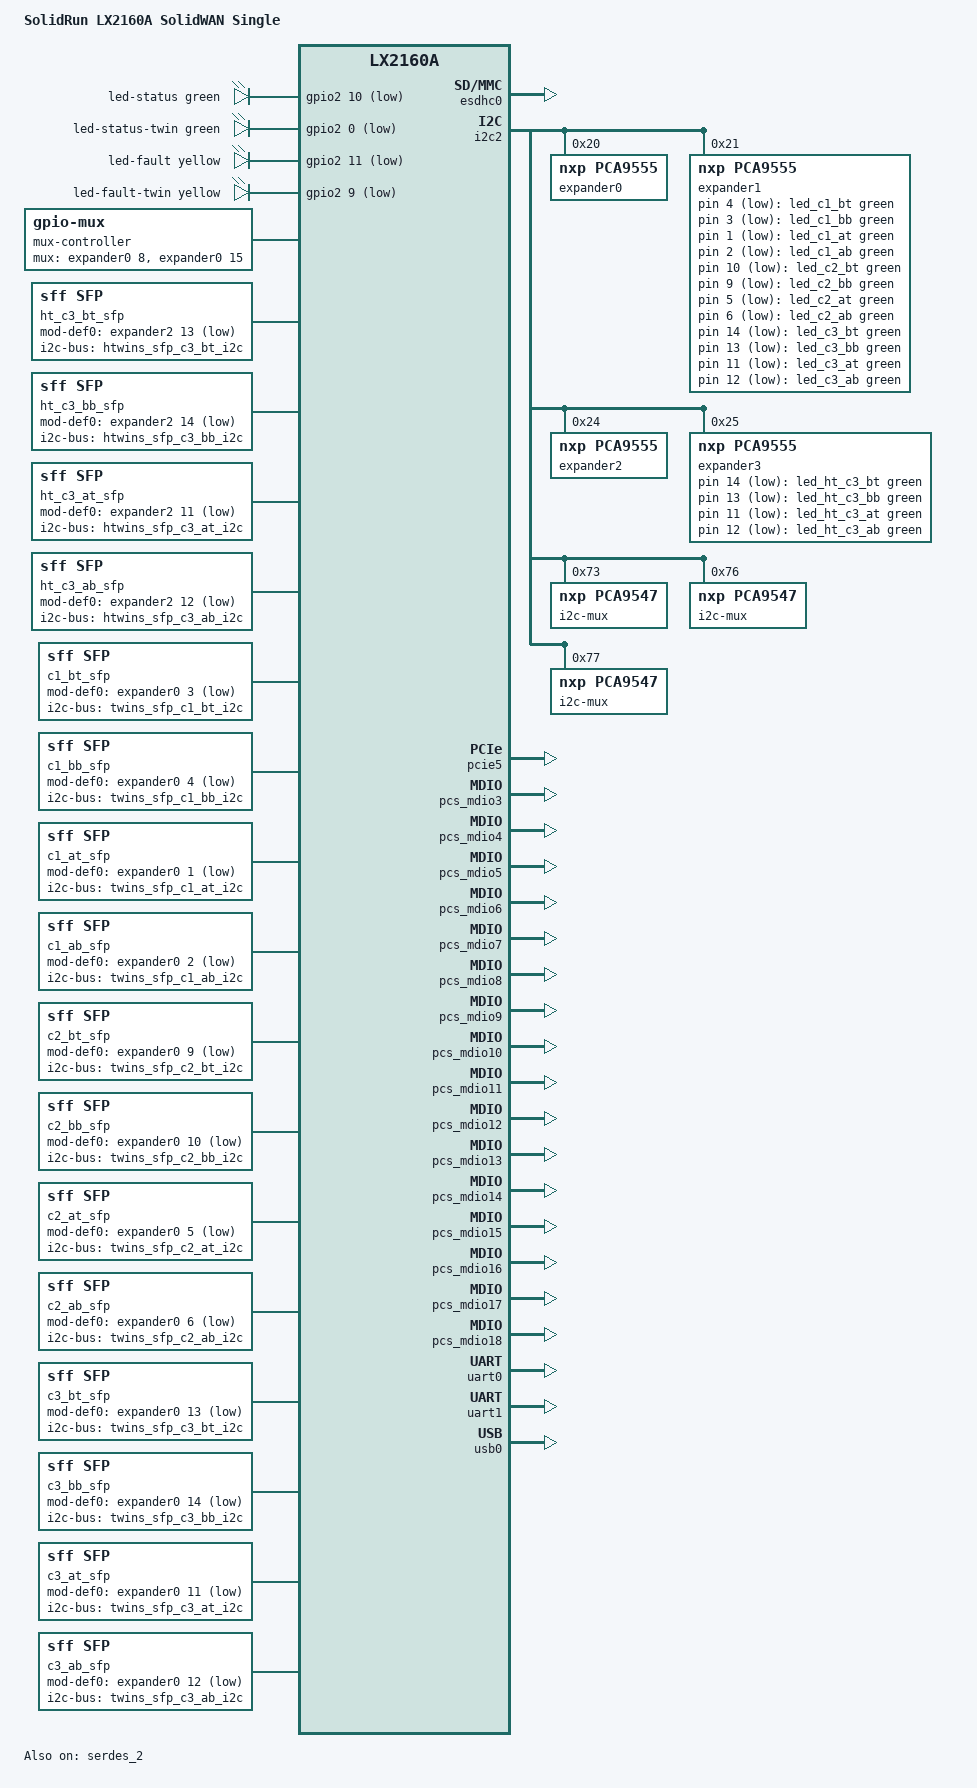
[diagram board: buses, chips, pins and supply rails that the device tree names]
// SPDX-License-Identifier: (GPL-2.0 OR MIT)
//
// Device Tree file for single LX2160A CEX-7 on Twins board.
//
// Copyright 2022 SolidRun Ltd.

/dts-v1/;

#include <dt-bindings/leds/common.h>

#include "fsl-lx2160a-rev2.dtsi"
#include "fsl-lx2160a-cex7.dtsi"

/ {
	compatible = "solidrun,twins-single", "solidrun,lx2160a-cex7", "fsl,lx2160a";
	model = "SolidRun LX2160A SolidWAN Single";

	aliases {
		gpio0 = &gpio0;
		gpio1 = &gpio1;
		gpio2 = &gpio2;
		gpio3 = &gpio3;
		gpio4 = &expander0;
		gpio5 = &expander1;
		gpio6 = &expander2;
		gpio7 = &expander3;
		i2c0 = &i2c0;
		i2c1 = &i2c2;
		i2c2 = &i2c4;
		i2c3 = &fan_i2c;
		i2c4 = &power_i2c;
		i2c5 = &i2c_smb;
		i2c6 = &sfp0_i2c;
		i2c7 = &sfp1_i2c;
		i2c8 = &sfp2_i2c;
		i2c9 = &sfp3_i2c;
		i2c10 = &twins_sfp_c1_at_i2c;
		i2c11 = &twins_sfp_c1_ab_i2c;
		i2c12 = &twins_sfp_c1_bt_i2c;
		i2c13 = &twins_sfp_c1_bb_i2c;
		i2c14 = &twins_sfp_c2_at_i2c;
		i2c15 = &twins_sfp_c2_ab_i2c;
		i2c16 = &twins_sfp_c2_bt_i2c;
		i2c17 = &twins_sfp_c2_bb_i2c;
		i2c18 = &twins_sfp_c3_at_i2c;
		i2c19 = &twins_sfp_c3_ab_i2c;
		i2c20 = &twins_sfp_c3_bt_i2c;
		i2c21 = &twins_sfp_c3_bb_i2c;
		i2c22 = &htwins_sfp_c3_at_i2c;
		i2c23 = &htwins_sfp_c3_ab_i2c;
		i2c24 = &htwins_sfp_c3_bt_i2c;
		i2c25 = &htwins_sfp_c3_bb_i2c;
		i2c26 = &ddr_i2c;
		mmc0 = &esdhc0;
		mmc1 = &esdhc1;
		serial0 = &uart0;
		serial1 = &uart1;
	};

	chosen {
		stdout-path = "serial0:115200n8";
	};

	leds {
		compatible = "gpio-leds";

		led_ht_c3_bt: led-sfp-1 {
			color = <LED_COLOR_ID_GREEN>;
			default-state = "off";
			function = LED_FUNCTION_LAN;
			function-enumerator = <1>;
			gpios = <&expander3 14 GPIO_ACTIVE_LOW>;
			trigger-sources = <&dpmac5>;
			linux,default-trigger = "netdev";
		};

		led_ht_c3_bb: led-sfp-2 {
			color = <LED_COLOR_ID_GREEN>;
			default-state = "off";
			function = LED_FUNCTION_LAN;
			function-enumerator = <2>;
			gpios = <&expander3 13 GPIO_ACTIVE_LOW>;
			trigger-sources = <&dpmac15>;
			linux,default-trigger = "netdev";
		};

		led_ht_c3_at: led-sfp-3 {
			color = <LED_COLOR_ID_GREEN>;
			default-state = "off";
			function = LED_FUNCTION_LAN;
			function-enumerator = <3>;
			gpios = <&expander3 11 GPIO_ACTIVE_LOW>;
			trigger-sources = <&dpmac6>;
			linux,default-trigger = "netdev";
		};

		led_ht_c3_ab: led-sfp-4 {
			color = <LED_COLOR_ID_GREEN>;
			default-state = "off";
			function = LED_FUNCTION_LAN;
			function-enumerator = <4>;
			gpios = <&expander3 12 GPIO_ACTIVE_LOW>;
			trigger-sources = <&dpmac11>;
			linux,default-trigger = "netdev";
		};

		led_c1_bt: led-sfp-9 {
			color = <LED_COLOR_ID_GREEN>;
			default-state = "off";
			function = LED_FUNCTION_LAN;
			function-enumerator = <9>;
			gpios = <&expander1 4 GPIO_ACTIVE_LOW>;
			trigger-sources = <&dpmac4>;
			linux,default-trigger = "netdev";
		};

		led_c1_bb: led-sfp-10 {
			color = <LED_COLOR_ID_GREEN>;
			default-state = "off";
			function = LED_FUNCTION_LAN;
			function-enumerator = <10>;
			gpios = <&expander1 3 GPIO_ACTIVE_LOW>;
			trigger-sources = <&dpmac17>;
			linux,default-trigger = "netdev";
		};

		led_c1_at: led-sfp-11 {
			color = <LED_COLOR_ID_GREEN>;
			default-state = "off";
			function = LED_FUNCTION_LAN;
			function-enumerator = <11>;
			gpios = <&expander1 1 GPIO_ACTIVE_LOW>;
			trigger-sources = <&dpmac3>;
			linux,default-trigger = "netdev";
		};

		led_c1_ab: led-sfp-12 {
			color = <LED_COLOR_ID_GREEN>;
			default-state = "off";
			function = LED_FUNCTION_LAN;
			function-enumerator = <12>;
			gpios = <&expander1 2 GPIO_ACTIVE_LOW>;
			trigger-sources = <&dpmac12>;
			linux,default-trigger = "netdev";
		};

		led_c2_bt: led-sfp-13 {
			color = <LED_COLOR_ID_GREEN>;
			default-state = "off";
			function = LED_FUNCTION_LAN;
			function-enumerator = <13>;
			gpios = <&expander1 10 GPIO_ACTIVE_LOW>;
			trigger-sources = <&dpmac8>;
			linux,default-trigger = "netdev";
		};

		led_c2_bb: led-sfp-14 {
			color = <LED_COLOR_ID_GREEN>;
			default-state = "off";
			function = LED_FUNCTION_LAN;
			function-enumerator = <14>;
			gpios = <&expander1 9 GPIO_ACTIVE_LOW>;
			trigger-sources = <&dpmac16>;
			linux,default-trigger = "netdev";
		};

		led_c2_at: led-sfp-15 {
			color = <LED_COLOR_ID_GREEN>;
			default-state = "off";
			function = LED_FUNCTION_LAN;
			function-enumerator = <15>;
			gpios = <&expander1 5 GPIO_ACTIVE_LOW>;
			trigger-sources = <&dpmac7>;
			linux,default-trigger = "netdev";
		};

		led_c2_ab: led-sfp-16 {
			color = <LED_COLOR_ID_GREEN>;
			default-state = "off";
			function = LED_FUNCTION_LAN;
			function-enumerator = <16>;
			gpios = <&expander1 6 GPIO_ACTIVE_LOW>;
			trigger-sources = <&dpmac18>;
			linux,default-trigger = "netdev";
		};

		led_c3_bt: led-sfp-17 {
			color = <LED_COLOR_ID_GREEN>;
			default-state = "off";
			function = LED_FUNCTION_LAN;
			function-enumerator = <17>;
			gpios = <&expander1 14 GPIO_ACTIVE_LOW>;
			trigger-sources = <&dpmac10>;
			linux,default-trigger = "netdev";
		};

		led_c3_bb: led-sfp-18 {
			color = <LED_COLOR_ID_GREEN>;
			default-state = "off";
			function = LED_FUNCTION_LAN;
			function-enumerator = <18>;
			gpios = <&expander1 13 GPIO_ACTIVE_LOW>;
			trigger-sources = <&dpmac14>;
			linux,default-trigger = "netdev";
		};

		led_c3_at: led-sfp-19 {
			color = <LED_COLOR_ID_GREEN>;
			default-state = "off";
			function = LED_FUNCTION_LAN;
			function-enumerator = <19>;
			gpios = <&expander1 11 GPIO_ACTIVE_LOW>;
			trigger-sources = <&dpmac9>;
			linux,default-trigger = "netdev";
		};

		led_c3_ab: led-sfp-20 {
			color = <LED_COLOR_ID_GREEN>;
			default-state = "off";
			function = LED_FUNCTION_LAN;
			function-enumerator = <20>;
			gpios = <&expander1 12 GPIO_ACTIVE_LOW>;
			trigger-sources = <&dpmac13>;
			linux,default-trigger = "netdev";
		};

		led-status {
			color = <LED_COLOR_ID_GREEN>;
			default-state = "off";
			function = LED_FUNCTION_STATUS;
			function-enumerator = <0>;
			gpios = <&gpio2 10 GPIO_ACTIVE_LOW>;
			linux,default-trigger = "heartbeat";
		};

		led-status-twin {
			color = <LED_COLOR_ID_GREEN>;
			default-state = "off";
			function = LED_FUNCTION_STATUS;
			function-enumerator = <1>;
			gpios = <&gpio2 0 GPIO_ACTIVE_LOW>;
		};

		led-fault {
			color = <LED_COLOR_ID_YELLOW>;
			default-state = "off";
			function = LED_FUNCTION_FAULT;
			function-enumerator = <0>;
			gpios = <&gpio2 11 GPIO_ACTIVE_LOW>;
			panic-indicator;
		};

		led-fault-twin {
			color = <LED_COLOR_ID_YELLOW>;
			default-state = "off";
			function = LED_FUNCTION_FAULT;
			function-enumerator = <1>;
			gpios = <&gpio2 9 GPIO_ACTIVE_LOW>;
		};
	};

	mux-controller {
		compatible = "gpio-mux";
		#mux-control-cells = <0>;
		/*
		 * This gpio controlled mux can route the tacho signals of 6 PWM FAN connectors
		 * to the tacho inputs of both CEX-7 modules (twins).
		 *
		 * The first twin controls this mux and monitors four fan connectors, two intended
		 * for itself, and two for the OCP card.
		 *
		 * The second twin monitors only two fan connectors intended for itself.
		 *
		 * The table below maps selector GPIO states to monitored fan connector per twin:
		 *
		 * | SEL1 | SEL0 | Twin 1 | Twin 2 |
		 * | ---: | ---: | :------| ------ |
		 * |    0 |    0 | J10    |  J5024 |
		 * |    0 |    1 | J5016  |  J5024 |
		 * |    1 |    0 | J5026  |  J5025 |
		 * |    1 |    1 | J5013  |  J5025 |
		 */
		mux-gpios = <&expander0 8 GPIO_ACTIVE_HIGH>, /* SEL0 */
			    <&expander0 15 GPIO_ACTIVE_HIGH>; /* SEL1 */
	};

	ht_c3_bt_sfp: sfp-1 {
		compatible = "sff,sfp";
		i2c-bus = <&htwins_sfp_c3_bt_i2c>;
		maximum-power-milliwatt = <2000>;
		mod-def0-gpios = <&expander2 13 GPIO_ACTIVE_LOW>;
	};

	ht_c3_bb_sfp: sfp-2 {
		compatible = "sff,sfp";
		i2c-bus = <&htwins_sfp_c3_bb_i2c>;
		maximum-power-milliwatt = <2000>;
		mod-def0-gpios = <&expander2 14 GPIO_ACTIVE_LOW>;
	};

	ht_c3_at_sfp: sfp-3 {
		compatible = "sff,sfp";
		i2c-bus = <&htwins_sfp_c3_at_i2c>;
		maximum-power-milliwatt = <2000>;
		mod-def0-gpios = <&expander2 11 GPIO_ACTIVE_LOW>;
	};

	ht_c3_ab_sfp: sfp-4 {
		compatible = "sff,sfp";
		i2c-bus = <&htwins_sfp_c3_ab_i2c>;
		maximum-power-milliwatt = <2000>;
		mod-def0-gpios = <&expander2 12 GPIO_ACTIVE_LOW>;
	};

	c1_bt_sfp: sfp-9 {
		compatible = "sff,sfp";
		i2c-bus = <&twins_sfp_c1_bt_i2c>;
		maximum-power-milliwatt = <2000>;
		mod-def0-gpios = <&expander0 3 GPIO_ACTIVE_LOW>;
	};

	c1_bb_sfp: sfp-10 {
		compatible = "sff,sfp";
		i2c-bus = <&twins_sfp_c1_bb_i2c>;
		maximum-power-milliwatt = <2000>;
		mod-def0-gpios = <&expander0 4 GPIO_ACTIVE_LOW>;
	};

	c1_at_sfp: sfp-11 {
		compatible = "sff,sfp";
		i2c-bus = <&twins_sfp_c1_at_i2c>;
		maximum-power-milliwatt = <2000>;
		mod-def0-gpios = <&expander0 1 GPIO_ACTIVE_LOW>;
	};

	c1_ab_sfp: sfp-12 {
		compatible = "sff,sfp";
		i2c-bus = <&twins_sfp_c1_ab_i2c>;
		maximum-power-milliwatt = <2000>;
		mod-def0-gpios = <&expander0 2 GPIO_ACTIVE_LOW>;
	};

	c2_bt_sfp: sfp-13 {
		compatible = "sff,sfp";
		i2c-bus = <&twins_sfp_c2_bt_i2c>;
		maximum-power-milliwatt = <2000>;
		mod-def0-gpios = <&expander0 9 GPIO_ACTIVE_LOW>;
	};

	c2_bb_sfp: sfp-14 {
		compatible = "sff,sfp";
		i2c-bus = <&twins_sfp_c2_bb_i2c>;
		maximum-power-milliwatt = <2000>;
		mod-def0-gpios = <&expander0 10 GPIO_ACTIVE_LOW>;
	};

	c2_at_sfp: sfp-15 {
		compatible = "sff,sfp";
		i2c-bus = <&twins_sfp_c2_at_i2c>;
		maximum-power-milliwatt = <2000>;
		mod-def0-gpios = <&expander0 5 GPIO_ACTIVE_LOW>;
	};

	c2_ab_sfp: sfp-16 {
		compatible = "sff,sfp";
		i2c-bus = <&twins_sfp_c2_ab_i2c>;
		maximum-power-milliwatt = <2000>;
		mod-def0-gpios = <&expander0 6 GPIO_ACTIVE_LOW>;
	};

	c3_bt_sfp: sfp-17 {
		compatible = "sff,sfp";
		i2c-bus = <&twins_sfp_c3_bt_i2c>;
		maximum-power-milliwatt = <2000>;
		mod-def0-gpios = <&expander0 13 GPIO_ACTIVE_LOW>;
	};

	c3_bb_sfp: sfp-18 {
		compatible = "sff,sfp";
		i2c-bus = <&twins_sfp_c3_bb_i2c>;
		maximum-power-milliwatt = <2000>;
		mod-def0-gpios = <&expander0 14 GPIO_ACTIVE_LOW>;
	};

	c3_at_sfp: sfp-19 {
		compatible = "sff,sfp";
		i2c-bus = <&twins_sfp_c3_at_i2c>;
		maximum-power-milliwatt = <2000>;
		mod-def0-gpios = <&expander0 11 GPIO_ACTIVE_LOW>;
	};

	c3_ab_sfp: sfp-20 {
		compatible = "sff,sfp";
		i2c-bus = <&twins_sfp_c3_ab_i2c>;
		maximum-power-milliwatt = <2000>;
		mod-def0-gpios = <&expander0 12 GPIO_ACTIVE_LOW>;
	};
};

/*
 * This board supports industrial grade temperatures,
 * the LX2160A SoC maximum junction temperature is 105°C.
 *
 * Raise thermal thresholds to allow operation near maximum temperature.
 */
&ccn_dpaa_alert {
	temperature = <100000>;
};

&ccn_dpaa_crit {
	temperature = <105000>;
};

&cluster2_3_alert {
	temperature = <100000>;
};

&cluster2_3_crit {
	temperature = <105000>;
};

&cluster4_alert {
	temperature = <100000>;
};

&cluster4_crit {
	temperature = <105000>;
};

&cluster5_alert {
	temperature = <100000>;
};

&cluster5_crit {
	temperature = <105000>;
};

&cluster6_7_alert {
	temperature = <100000>;
};

&cluster6_7_crit {
	temperature = <105000>;
};

&dce_qbman_alert {
	temperature = <100000>;
};

&dce_qbman_crit {
	temperature = <105000>;
};

/* sfp port 11 */
&dpmac3 {
	managed = "in-band-status";
	phys = <&serdes_1 7>;
	sfp = <&c1_at_sfp>;
};

/* sfp port 9 */
&dpmac4 {
	managed = "in-band-status";
	phys = <&serdes_1 6>;
	sfp = <&c1_bt_sfp>;
};

/* sfp port 1 */
&dpmac5 {
	managed = "in-band-status";
	phys = <&serdes_1 5>;
	sfp = <&ht_c3_bt_sfp>;
};

/* sfp port 3 */
&dpmac6 {
	managed = "in-band-status";
	phys = <&serdes_1 4>;
	sfp = <&ht_c3_at_sfp>;
};

/* sfp port 15 */
&dpmac7 {
	managed = "in-band-status";
	phys = <&serdes_1 3>;
	sfp = <&c2_at_sfp>;
};

/* sfp port 13 */
&dpmac8 {
	managed = "in-band-status";
	phys = <&serdes_1 2>;
	sfp = <&c2_bt_sfp>;
};

/* sfp port 19 */
&dpmac9 {
	managed = "in-band-status";
	phys = <&serdes_1 1>;
	sfp = <&c3_at_sfp>;
};

/* sfp port 17 */
&dpmac10 {
	managed = "in-band-status";
	phys = <&serdes_1 0>;
	sfp = <&c3_bt_sfp>;
};

/* sfp port 4 */
&dpmac11 {
	managed = "in-band-status";
	phys = <&serdes_2 0>;
	sfp = <&ht_c3_ab_sfp>;
};

/* sfp port 12 */
&dpmac12 {
	managed = "in-band-status";
	phys = <&serdes_2 1>;
	sfp = <&c1_ab_sfp>;
};

/* sfp port 20 */
&dpmac13 {
	managed = "in-band-status";
	phys = <&serdes_2 6>;
	sfp = <&c3_ab_sfp>;
};

/* sfp port 18 */
&dpmac14 {
	managed = "in-band-status";
	phys = <&serdes_2 7>;
	sfp = <&c3_bb_sfp>;
};

/* sfp port 2 */
&dpmac15 {
	managed = "in-band-status";
	phys = <&serdes_2 4>;
	sfp = <&ht_c3_bb_sfp>;
};

/* sfp port 14 */
&dpmac16 {
	managed = "in-band-status";
	phys = <&serdes_2 5>;
	sfp = <&c2_bb_sfp>;
};

/* sfp port 10 */
&dpmac17 {
	/* override connection to on-COM phy */
	/delete-property/ phy-handle;
	/delete-property/ phy-connection-type;
	managed = "in-band-status";
	phys = <&serdes_2 2>;
	sfp = <&c1_bb_sfp>;
};

/* sfp port 16 */
&dpmac18 {
	managed = "in-band-status";
	phys = <&serdes_2 3>;
	sfp = <&c2_ab_sfp>;
};

&esdhc0 {
	pinctrl-0 = <&esdhc0_cd_wp_pins>, <&esdhc0_cmd_data30_clk_vsel_pins>;
	pinctrl-names = "default";
	/*
	 * Disable 1.8V modes so that microsd state is same between
	 * power-on-reset, u-boot and linux.
	 * This avoids sporadic read errors after hard reset with some cards.
	 */
	no-1-8-v;
	status = "okay";
};

&i2c2 {
	expander0: gpio@20 {
		compatible = "nxp,pca9555";
		reg = <0x20>;
		#gpio-cells = <2>;
		gpio-controller;
	};

	expander1: gpio@21 {
		compatible = "nxp,pca9555";
		reg = <0x21>;
		#gpio-cells = <2>;
		gpio-controller;
	};

	expander2: gpio@24 {
		compatible = "nxp,pca9555";
		reg = <0x24>;
		#gpio-cells = <2>;
		gpio-controller;
	};

	expander3: gpio@25 {
		compatible = "nxp,pca9555";
		reg = <0x25>;
		#gpio-cells = <2>;
		gpio-controller;
	};

	/* Half twins configuration; take over c3 from the other twin side */
	i2c-mux@73 {
		compatible = "nxp,pca9547";
		reg = <0x73>;
		#address-cells = <1>;
		#size-cells = <0>;
		i2c-mux-idle-disconnect;

		htwins_sfp_c3_at_i2c: i2c@3 {
			reg = <3>;
			#address-cells = <1>;
			#size-cells = <0>;
		};

		htwins_sfp_c3_ab_i2c: i2c@4 {
			reg = <4>;
			#address-cells = <1>;
			#size-cells = <0>;
		};

		htwins_sfp_c3_bt_i2c: i2c@5 {
			reg = <5>;
			#address-cells = <1>;
			#size-cells = <0>;
		};

		htwins_sfp_c3_bb_i2c: i2c@6 {
			reg = <6>;
			#address-cells = <1>;
			#size-cells = <0>;
		};
	};

	i2c-mux@76 {
		compatible = "nxp,pca9547";
		reg = <0x76>;
		#address-cells = <1>;
		#size-cells = <0>;
		i2c-mux-idle-disconnect;

		twins_sfp_c1_at_i2c: i2c@1 {
			reg = <1>;
			#address-cells = <1>;
			#size-cells = <0>;
		};

		twins_sfp_c1_ab_i2c: i2c@2 {
			reg = <2>;
			#address-cells = <1>;
			#size-cells = <0>;
		};

		twins_sfp_c1_bt_i2c: i2c@3 {
			reg = <3>;
			#address-cells = <1>;
			#size-cells = <0>;
		};

		twins_sfp_c1_bb_i2c: i2c@4 {
			reg = <4>;
			#address-cells = <1>;
			#size-cells = <0>;
		};

		twins_sfp_c2_at_i2c: i2c@5 {
			reg = <5>;
			#address-cells = <1>;
			#size-cells = <0>;
		};

		twins_sfp_c2_ab_i2c: i2c@6 {
			reg = <6>;
			#address-cells = <1>;
			#size-cells = <0>;
		};
	};

	i2c-mux@77 {
		compatible = "nxp,pca9547";
		reg = <0x77>;
		#address-cells = <1>;
		#size-cells = <0>;
		i2c-mux-idle-disconnect;

		twins_sfp_c2_bt_i2c: i2c@1 {
			reg = <1>;
			#address-cells = <1>;
			#size-cells = <0>;
		};

		twins_sfp_c2_bb_i2c: i2c@2 {
			reg = <2>;
			#address-cells = <1>;
			#size-cells = <0>;
		};

		twins_sfp_c3_at_i2c: i2c@3 {
			reg = <3>;
			#address-cells = <1>;
			#size-cells = <0>;
		};

		twins_sfp_c3_ab_i2c: i2c@4 {
			reg = <4>;
			#address-cells = <1>;
			#size-cells = <0>;
		};

		twins_sfp_c3_bt_i2c: i2c@5 {
			reg = <5>;
			#address-cells = <1>;
			#size-cells = <0>;
		};

		twins_sfp_c3_bb_i2c: i2c@6 {
			reg = <6>;
			#address-cells = <1>;
			#size-cells = <0>;
		};
	};
};

&pcie5 {
	status = "okay";
};

&pcs_mdio3 {
	status = "okay";
};

&pcs_mdio4 {
	status = "okay";
};

&pcs_mdio5 {
	status = "okay";
};

&pcs_mdio6 {
	status = "okay";
};

&pcs_mdio7 {
	status = "okay";
};

&pcs_mdio8 {
	status = "okay";
};

&pcs_mdio9 {
	status = "okay";
};

&pcs_mdio10 {
	status = "okay";
};

&pcs_mdio11 {
	status = "okay";
};

&pcs_mdio12 {
	status = "okay";
};

&pcs_mdio13 {
	status = "okay";
};

&pcs_mdio14 {
	status = "okay";
};

&pcs_mdio15 {
	status = "okay";
};

&pcs_mdio16 {
	status = "okay";
};

&pcs_mdio17 {
	status = "okay";
};

&pcs_mdio18 {
	status = "okay";
};

&rgmii_phy1 {
	/*
	 * COM has a phy at address 1 connected to SoC Ethernet Controller 1.
	 * It competes for WRIOP MAC17, and no connector has been wired.
	 */
	status = "disabled";
};

&serdes_2 {
	status = "okay";
};

&uart0 {
	status = "okay";
};

&uart1 {
	status = "okay";
};

&usb0 {
	status = "okay";
};

&wriop_alert {
	temperature = <100000>;
};

&wriop_crit {
	temperature = <105000>;
};
